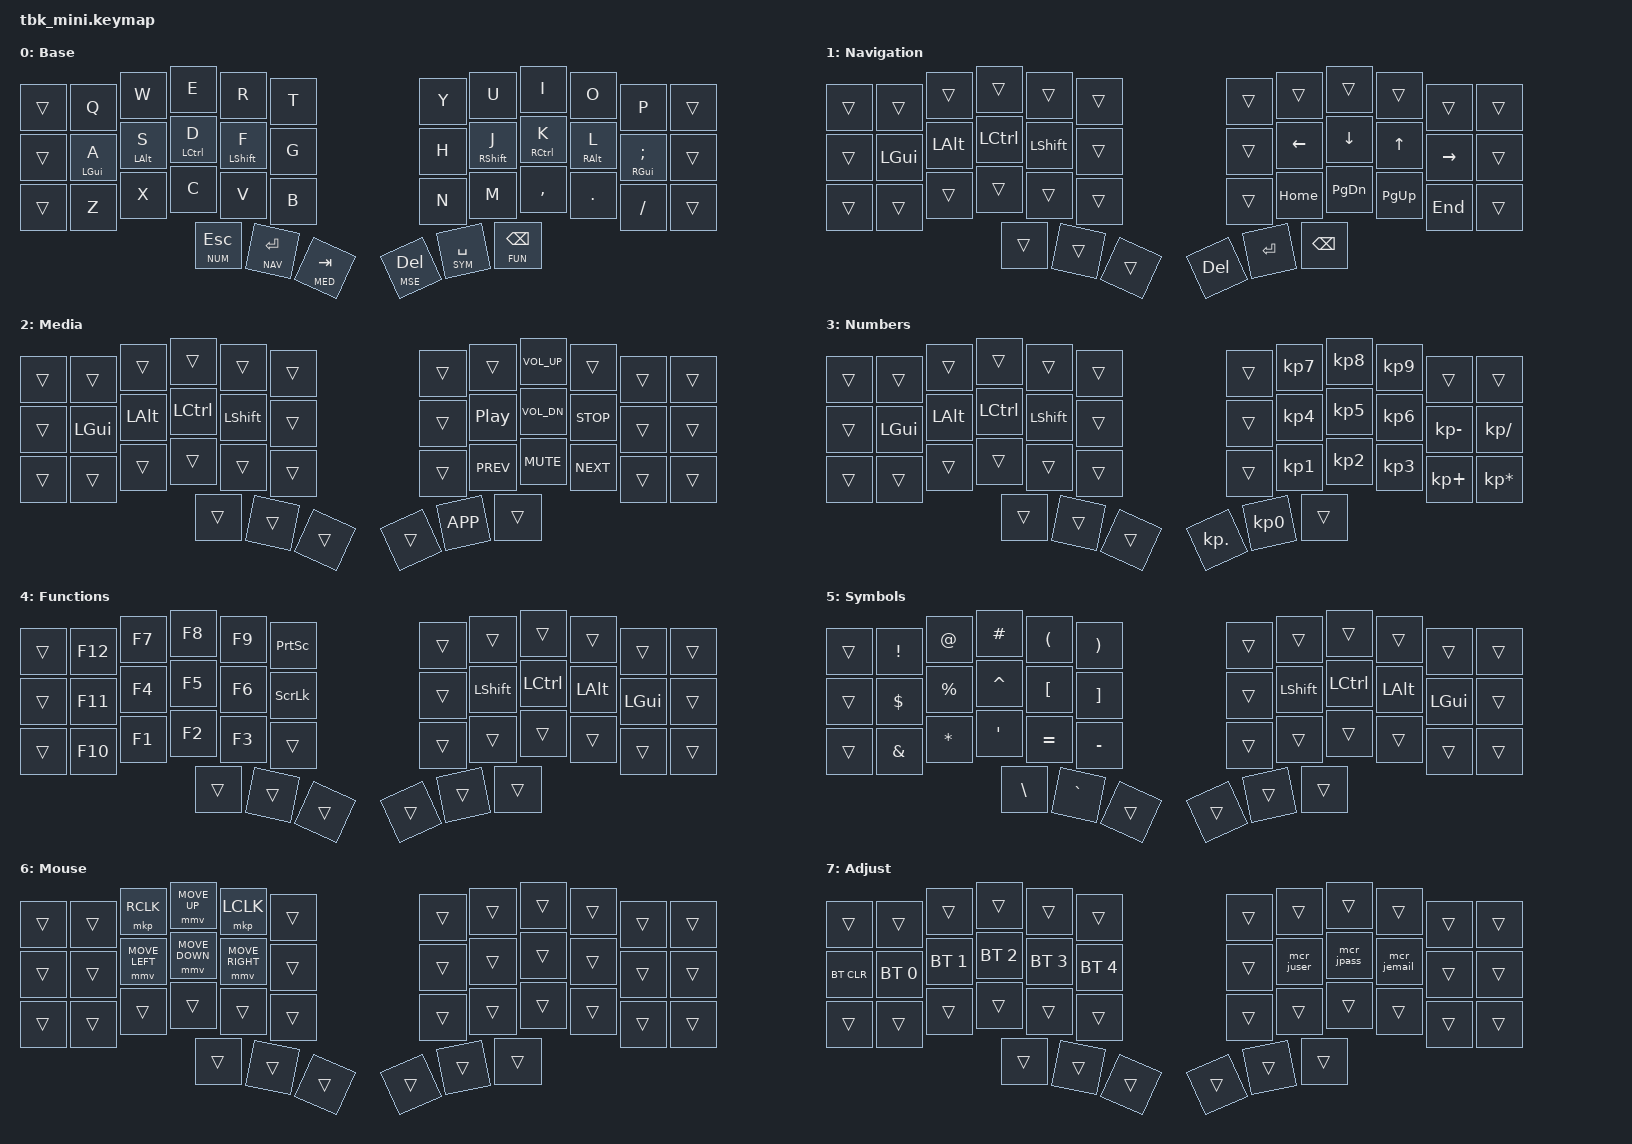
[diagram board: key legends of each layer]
/*
 * Copyright (c) 2020 The ZMK Contributors
 *
 * SPDX-License-Identifier: MIT
 */

#include <dt-bindings/zmk/keys.h>
#include <dt-bindings/zmk/bt.h>
#include <dt-bindings/zmk/pointing.h>
#include "custom/macros.dtsi"
#include "custom/behaviors.dtsi"

#define BASE 0
#define NAV 1
#define MED 2
#define NUM 3
#define FUN 4
#define SYM 5
#define MSE 6
#define ADJ 7

/ {
        conditional_layers {
                compatible = "zmk,conditional-layers";
                adjust_layer {
                        if-layers = <MED MSE>;
                        then-layer = <ADJ>;
                };
        };

        keymap {
                compatible = "zmk,keymap";

                base_layer {
                        display-name = "Base";
                        bindings = <
                                &trans          &kp Q           &kp W           &kp E           &kp R           &kp T                   &kp Y           &kp U           &kp I           &kp O           &kp P                   &trans
                                &trans          &hrm_l LGUI A   &hrm_l LALT S   &hrm_l LCTRL D  &hrm_l LSHFT F  &kp G                   &kp H           &hrm_r RSHFT J  &hrm_r RCTRL K  &hrm_r RALT L   &hrm_r RGUI SEMI        &trans
                                &trans          &kp Z           &kp X           &kp C           &kp V           &kp B                   &kp N           &kp M           &kp COMMA       &kp DOT         &kp FSLH                &trans
                                                                                &lt NUM ESC     &lt NAV RET     &lt MED TAB             &lt MSE DEL     &lt SYM SPACE   &lt FUN BSPC
                        >;
                };

                navigation_layer {
                        display-name = "Navigation";
                        bindings = <
                                &trans          &trans          &trans          &trans          &trans          &trans                  &trans          &trans          &trans          &trans          &trans          &trans
                                &trans          &kp LGUI        &kp LALT        &kp LCTRL       &kp LSHFT       &trans                  &trans          &kp LEFT        &kp DOWN        &kp UP          &kp RIGHT       &trans  
                                &trans          &trans          &trans          &trans          &trans          &trans                  &trans          &kp HOME        &kp PG_DN       &kp PG_UP       &kp END         &trans
                                                                                &trans          &trans          &trans                  &kp DEL         &kp RET         &kp BSPC        
                        >;
                };

                media_layer {
                        display-name = "Media";
                        bindings = <
                                &trans          &trans          &trans          &trans          &trans          &trans                  &trans          &trans          &kp C_VOL_UP    &trans          &trans          &trans
                                &trans          &kp LGUI        &kp LALT        &kp LCTRL       &kp LSHFT       &trans                  &trans          &kp C_PP        &kp C_VOL_DN    &kp C_STOP      &trans          &trans
                                &trans          &trans          &trans          &trans          &trans          &trans                  &trans          &kp C_PREV      &kp C_MUTE      &kp C_NEXT      &trans          &trans
                                                                                &trans          &trans          &trans                  &trans          &kp K_APP       &trans
                        >;
                };

                numbers_layer {
                        display-name = "Numbers";
                        bindings = <
                                &trans          &trans          &trans          &trans          &trans          &trans                  &trans          &kp KP_N7       &kp KP_N8       &kp KP_N9       &trans          &trans
                                &trans          &kp LGUI        &kp LALT        &kp LCTRL       &kp LSHFT       &trans                  &trans          &kp KP_N4       &kp KP_N5       &kp KP_N6       &kp KP_MINUS    &kp KP_DIVIDE
                                &trans          &trans          &trans          &trans          &trans          &trans                  &trans          &kp KP_N1       &kp KP_N2       &kp KP_N3       &kp KP_PLUS     &kp KP_MULTIPLY
                                                                                &trans          &trans          &trans                  &kp KP_DOT      &kp KP_N0       &trans
                        >;
                };

                functions_layer {
                        display-name = "Functions";
                        bindings = <
                                &trans          &kp F12         &kp F7          &kp F8          &kp F9          &kp PSCRN               &trans          &trans          &trans          &trans          &trans          &trans
                                &trans          &kp F11         &kp F4          &kp F5          &kp F6          &kp SLCK                &trans          &kp LSHFT       &kp LCTRL       &kp LALT        &kp LGUI        &trans
                                &trans          &kp F10         &kp F1          &kp F2          &kp F3          &trans                  &trans          &trans          &trans          &trans          &trans          &trans
                                                                                &trans          &trans          &trans                  &trans          &trans          &trans
                        >;
                };

                symbols_layer {
                        display-name = "Symbols";
                        bindings = <
                                &trans          &kp EXCL        &kp AT          &kp HASH        &kp LPAR        &kp RPAR                &trans          &trans          &trans          &trans          &trans          &trans
                                &trans          &kp DOLLAR      &kp PERCENT     &kp CARET       &kp LBKT        &kp RBKT                &trans          &kp LSHFT       &kp LCTRL       &kp LALT        &kp LGUI        &trans
                                &trans          &kp AMPS        &kp ASTRK       &kp SQT         &kp EQUAL       &kp MINUS               &trans          &trans          &trans          &trans          &trans          &trans
                                                                                &kp BSLH        &kp GRAVE       &trans                  &trans          &trans          &trans
                        >;
                };

                mouse_layer {
                        display-name = "Mouse";
                        bindings = <
                                &trans          &trans          &mkp RCLK       &mmv MOVE_UP    &mkp LCLK       &trans                  &trans          &trans          &trans          &trans          &trans          &trans
                                &trans          &trans          &mmv MOVE_LEFT  &mmv MOVE_DOWN  &mmv MOVE_RIGHT &trans                  &trans          &trans          &trans          &trans          &trans          &trans
                                &trans          &trans          &trans          &trans          &trans          &trans                  &trans          &trans          &trans          &trans          &trans          &trans
                                                                                &trans          &trans          &trans                  &trans          &trans          &trans
                        >;
                };

                adjust_layer {
                        display-name = "Adjust";
                        bindings = <
                                &trans          &trans          &trans          &trans          &trans          &trans                  &trans          &trans          &trans          &trans          &trans          &trans
                                &bt BT_CLR      &bt BT_SEL 0    &bt BT_SEL 1    &bt BT_SEL 2    &bt BT_SEL 3    &bt BT_SEL 4            &trans          &mcr_juser      &mcr_jpass      &mcr_jemail     &trans          &trans
                                &trans          &trans          &trans          &trans          &trans          &trans                  &trans          &trans          &trans          &trans          &trans          &trans
                                                                                &trans          &trans          &trans                  &trans          &trans          &trans
                        >;
                };

                //blank_layer {
                //        display-name = "Blank";
                //        bindings = <
                //                &trans          &trans          &trans          &trans          &trans          &trans                  &trans          &trans          &trans          &trans          &trans          &trans
                //                &trans          &trans          &trans          &trans          &trans          &trans                  &trans          &trans          &trans          &trans          &trans          &trans
                //                &trans          &trans          &trans          &trans          &trans          &trans                  &trans          &trans          &trans          &trans          &trans          &trans
                //                                                                &trans          &trans          &trans                  &trans          &trans          &trans
                //        >;
                //};
        };
};
